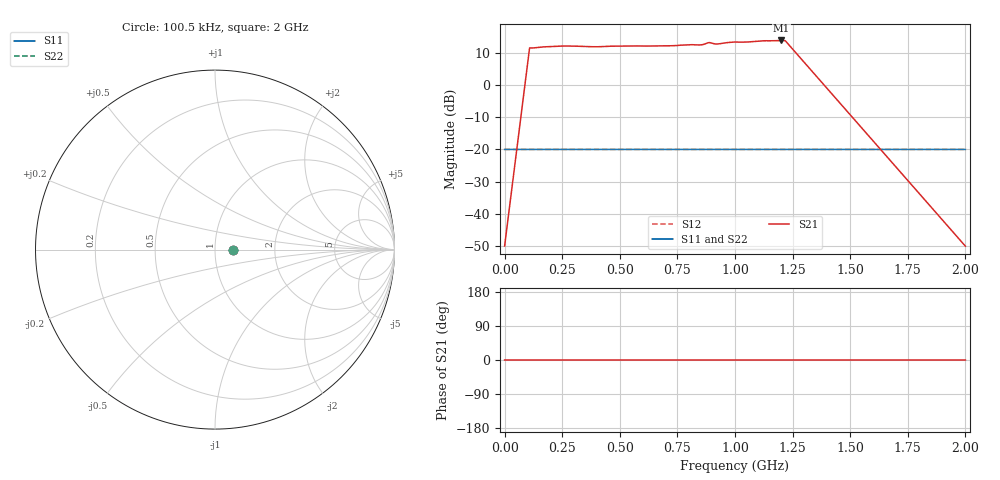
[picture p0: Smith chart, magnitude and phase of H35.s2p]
!Keysight  Technologies  E5080A  MY55200964  A.12.55.09
!Correction:  S11(Full  2  Port(1  2))
!S21(Full  2  Port(1  2))
!S12(Full  2  Port(1  2))
!S22(Full  2  Port(1  2))
!S2P  File:  Measurements:  S11 S21 S12 S22:
#  Hz  S  dB  R  50
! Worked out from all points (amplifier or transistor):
!   19894 points, 100.5 kHz to 2 GHz, reference 50 ohm
!   highest |S21| = 13.8 dB at 1.201 GHz (marker M1)
!   |S21| within 3 dB of that: 106.8 MHz to 1.254 GHz (1.147 GHz wide, 169 % of centre)
!   unconditionally stable (mu >= 1): start of sweep to end of sweep
!   at 333.3 MHz: K = 1.42, MAG = 12.1 dB, |S12| = -20.0 dB
!   at 1 GHz: K = 1.28, MAG = 13.5 dB, |S12| = -20.0 dB
!   at 2 GHz: K = 1547.38, MAG = -49.9 dB, |S12| = -20.0 dB
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100524.9  -20.00 0.0  -49.94 0.0  -20.00 0.0  -20.00 0.0
5.12677e7  -20.00 0.0  -20.83 0.0  -20.00 0.0  -20.00 0.0
7.579578e7  -20.00 0.0  -6.87 0.0  -20.00 0.0  -20.00 0.0
8.956769e7  -20.00 0.0  0.97 0.0  -20.00 0.0  -20.00 0.0
1.075616e8  -20.00 0.0  11.21 0.0  -20.00 0.0  -20.00 0.0
1.17011e8  -20.00 0.0  11.43 0.0  -20.00 0.0  -20.00 0.0
2.493018e8  -20.00 0.0  12.04 0.0  -20.00 0.0  -20.00 0.0
3.334411e8  -20.00 0.0  11.96 0.0  -20.00 0.0  -20.00 0.0
6.666812e8  -20.00 0.0  12.07 0.0  -20.00 0.0  -20.00 0.0
8.47827e8  -20.00 0.0  12.39 0.0  -20.00 0.0  -20.00 0.0
8.86127e8  -20.00 0.0  13.10 0.0  -20.00 0.0  -20.00 0.0
9.219139e8  -20.00 0.0  12.68 0.0  -20.00 0.0  -20.00 0.0
1.000022e9  -20.00 0.0  13.29 0.0  -20.00 0.0  -20.00 0.0
1.201373e9  -20.00 0.0  13.78 0.0  -20.00 0.0  -20.00 0.0
1.218663e9  -20.00 0.0  13.65 0.0  -20.00 0.0  -20.00 0.0
1.274153e9  -20.00 0.0  9.13 0.0  -20.00 0.0  -20.00 0.0
1.333362e9  -20.00 0.0  4.31 0.0  -20.00 0.0  -20.00 0.0
1.39036e9  -20.00 0.0  -0.34 0.0  -20.00 0.0  -20.00 0.0
1.459722e9  -20.00 0.0  -5.99 0.0  -20.00 0.0  -20.00 0.0
1.546978e9  -20.00 0.0  -13.09 0.0  -20.00 0.0  -20.00 0.0
1.666602e9  -20.00 0.0  -22.84 0.0  -20.00 0.0  -20.00 0.0
1.999842e9  -20.00 0.0  -49.99 0.0  -20.00 0.0  -20.00 0.0
